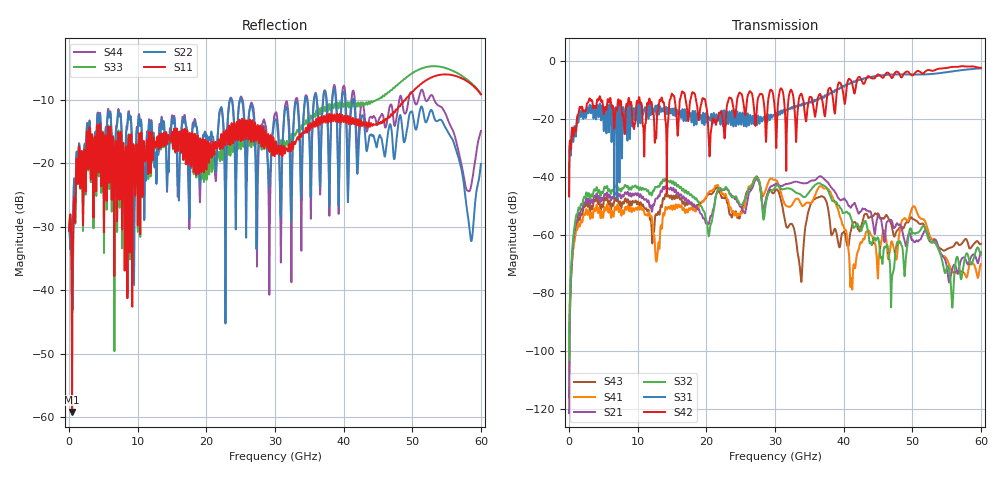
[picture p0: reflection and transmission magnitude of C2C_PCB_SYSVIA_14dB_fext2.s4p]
!$Gore$
!C2C PCB Topology at Nominal
!Tuned Ballou BGA and Tuned Mayfield BOR
!Created with Channel Assembly Tool v1.0.4
# Hz S RI R 50
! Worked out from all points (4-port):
!   6000 points, 10 MHz to 60 GHz, reference 50 ohm
!   strongest paths, dB at 10 MHz, 15.01 GHz, 30.01 GHz, 45.01 GHz, 60 GHz:
!     S42: -46.7, -11.4, -18.1, -4.7, -2.5
!     S31: -46.6, -16.5, -18.9, -5.2, -2.7
!     S32: -103.1, -42.3, -43.6, -60.9, -66.8
!     S21: -120.7, -44.7, -42.6, -53.3, -65.9
!     S41: -103.7, -51.2, -41.0, -74.6, -70.0
!     S43: -116.0, -47.7, -44.8, -52.5, -63.1
!   lowest |S11| = -59.2 dB at 440 MHz (marker M1), VSWR 1.00, Z = 50 - j0.109 ohm
!   |S11| at or under -10 dB: start of sweep to 48.99 GHz
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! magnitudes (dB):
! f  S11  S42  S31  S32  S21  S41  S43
! 10 MHz  -30.6  -46.7  -46.6  -103.1  -120.7  -103.7  -116.0
! 440 MHz  -59.2  -23.0  -23.3  -65.8  -68.0  -69.0  -69.0
! 27.27 GHz  -16.3  -19.2  -20.1  -40.1  -40.7  -39.8  -40.0
! 33.73 GHz  -15.6  -11.5  -15.4  -46.1  -42.0  -49.0  -73.6
! 36.61 GHz  -13.6  -11.6  -12.9  -42.2  -39.8  -43.2  -46.8
! 41.16 GHz  -13.8  -7.3  -7.5  -54.6  -50.1  -75.4  -57.5
! 60 GHz  -9.1  -2.5  -2.7  -66.8  -65.9  -70.0  -63.1
